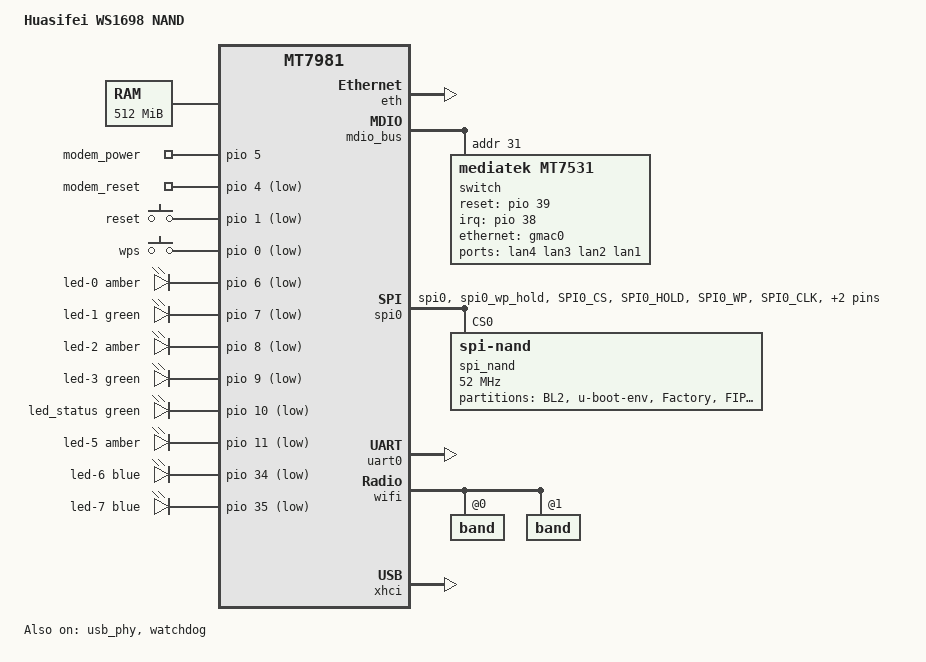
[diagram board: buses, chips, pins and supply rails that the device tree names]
// SPDX-License-Identifier: GPL-2.0-or-later OR MIT

/dts-v1/;
#include <dt-bindings/gpio/gpio.h>
#include <dt-bindings/input/input.h>
#include <dt-bindings/leds/common.h>

#include "mt7981b.dtsi"

/ {
	model = "Huasifei WS1698 NAND";
	compatible = "huasifei,ws1698-nand", "mediatek,mt7981";

	aliases {
		label-mac-device = &gmac1;

		led-boot = &led_status;
		led-failsafe = &led_status;
		led-running = &led_status;
		led-upgrade = &led_status;

		serial0 = &uart0;
	};

	chosen {
		stdout-path = "serial0:115200n8";
	};

	memory@40000000 {
		reg = <0 0x40000000 0 0x20000000>;
		device_type = "memory";
	};

	gpio-export {
		compatible = "gpio-export";

		modem-power {
			gpio-export,name = "modem_power";
			gpio-export,output = <1>;
			gpios = <&pio 5 GPIO_ACTIVE_HIGH>;
		};

		modem-reset {
			gpio-export,name = "modem_reset";
			gpio-export,output = <1>;
			gpios = <&pio 4 GPIO_ACTIVE_LOW>;
		};
	};

	gpio-keys {
		compatible = "gpio-keys";

		button-reset {
			label = "reset";
			linux,code = <KEY_RESTART>;
			gpios = <&pio 1 GPIO_ACTIVE_LOW>;
			debounce-interval = <60>;
		};

		button-wps {
			label = "wps";
			linux,code = <KEY_WPS_BUTTON>;
			gpios = <&pio 0 GPIO_ACTIVE_LOW>;
			debounce-interval = <60>;
		};
	};

	gpio-leds {
		compatible = "gpio-leds";

		led-0 {
			function = "5g";
			color = <LED_COLOR_ID_AMBER>;
			gpios = <&pio 6 GPIO_ACTIVE_LOW>;
		};

		led-1 {
			function = "5g";
			color = <LED_COLOR_ID_GREEN>;
			gpios = <&pio 7 GPIO_ACTIVE_LOW>;
		};

		led-2 {
			function = LED_FUNCTION_WAN;
			color = <LED_COLOR_ID_AMBER>;
			gpios = <&pio 8 GPIO_ACTIVE_LOW>;
		};

		led-3 {
			function = "4g";
			color = <LED_COLOR_ID_GREEN>;
			gpios = <&pio 9 GPIO_ACTIVE_LOW>;
		};

		led_status: led-4 {
			function = LED_FUNCTION_STATUS;
			color = <LED_COLOR_ID_GREEN>;
			gpios = <&pio 10 GPIO_ACTIVE_LOW>;
		};

		led-5 {
			function = "4g";
			color = <LED_COLOR_ID_AMBER>;
			gpios = <&pio 11 GPIO_ACTIVE_LOW>;
		};

		led-6 {
			function = LED_FUNCTION_WLAN_2GHZ;
			color = <LED_COLOR_ID_BLUE>;
			gpios = <&pio 34 GPIO_ACTIVE_LOW>;
			linux,default-trigger = "phy0tpt";
		};

		led-7 {
			function = LED_FUNCTION_WLAN_5GHZ;
			color = <LED_COLOR_ID_BLUE>;
			gpios = <&pio 35 GPIO_ACTIVE_LOW>;
			linux,default-trigger = "phy1tpt";
		};
	};
};

&eth {
	status = "okay";

	gmac0: mac@0 {
		compatible = "mediatek,eth-mac";
		reg = <0>;
		phy-mode = "2500base-x";
		nvmem-cells = <&macaddr_factory_4 1>;
		nvmem-cell-names = "mac-address";

		fixed-link {
			speed = <2500>;
			full-duplex;
			pause;
		};
	};

	gmac1: mac@1 {
		compatible = "mediatek,eth-mac";
		reg = <1>;
		phy-mode = "gmii";
		phy-handle = <&int_gbe_phy>;
		nvmem-cells = <&macaddr_factory_4 0>;
		nvmem-cell-names = "mac-address";
		openwrt,netdev-name = "wan";
	};
};

&mdio_bus {
	switch: switch@1f {
		compatible = "mediatek,mt7531";
		reg = <31>;
		reset-gpios = <&pio 39 GPIO_ACTIVE_HIGH>;
		interrupt-controller;
		#interrupt-cells = <1>;
		interrupt-parent = <&pio>;
		interrupts = <38 IRQ_TYPE_LEVEL_HIGH>;
	};
};

&pio {
	spi0_flash_pins: spi0-pins {
		mux {
			function = "spi";
			groups = "spi0", "spi0_wp_hold";
		};

		conf-pu {
			pins = "SPI0_CS", "SPI0_HOLD", "SPI0_WP";
			drive-strength = <MTK_DRIVE_8mA>;
			bias-pull-up = <MTK_PUPD_SET_R1R0_11>;
		};

		conf-pd {
			pins = "SPI0_CLK", "SPI0_MOSI", "SPI0_MISO";
			drive-strength = <MTK_DRIVE_8mA>;
			bias-pull-down = <MTK_PUPD_SET_R1R0_11>;
		};
	};
};

&spi0 {
	pinctrl-names = "default";
	pinctrl-0 = <&spi0_flash_pins>;
	status = "okay";

	spi_nand@0 {
		compatible = "spi-nand";
		reg = <0>;

		spi-max-frequency = <52000000>;
		spi-tx-bus-width = <4>;
		spi-rx-bus-width = <4>;

		spi-cal-enable;
		spi-cal-mode = "read-data";
		spi-cal-datalen = <7>;
		spi-cal-data = /bits/ 8 <0x53 0x50 0x49 0x4e 0x41 0x4e 0x44>;
		spi-cal-addrlen = <5>;
		spi-cal-addr = /bits/ 32 <0x0 0x0 0x0 0x0 0x0>;

		mediatek,nmbm;
		mediatek,bmt-max-ratio = <1>;
		mediatek,bmt-max-reserved-blocks = <64>;

		partitions {
			compatible = "fixed-partitions";
			#address-cells = <1>;
			#size-cells = <1>;

			partition@0 {
				label = "BL2";
				reg = <0x0 0x100000>;
				read-only;
			};

			partition@100000 {
				label = "u-boot-env";
				reg = <0x100000 0x80000>;
			};

			partition@180000 {
				label = "Factory";
				reg = <0x180000 0x200000>;
				read-only;

				nvmem-layout {
					compatible = "fixed-layout";
					#address-cells = <1>;
					#size-cells = <1>;

					eeprom_factory_0: eeprom@0 {
						reg = <0x0 0x1000>;
					};

					macaddr_factory_4: macaddr@4 {
						compatible = "mac-base";
						reg = <0x4 0x6>;
						#nvmem-cell-cells = <1>;
					};
				};
			};

			partition@380000 {
				label = "FIP";
				reg = <0x380000 0x200000>;
				read-only;
			};

			partition@580000 {
				label = "ubi";
				reg = <0x580000 0xe280000>;
			};
		};
	};
};

&switch {
	ports {
		#address-cells = <1>;
		#size-cells = <0>;

		port@0 {
			reg = <0>;
			label = "lan4";
		};

		port@1 {
			reg = <1>;
			label = "lan3";
		};

		port@2 {
			reg = <2>;
			label = "lan2";
		};

		port@3 {
			reg = <3>;
			label = "lan1";
		};

		port@6 {
			reg = <6>;
			ethernet = <&gmac0>;
			phy-mode = "2500base-x";

			fixed-link {
				speed = <2500>;
				full-duplex;
				pause;
			};
		};
	};
};

&uart0 {
	status = "okay";
};

&usb_phy {
	status = "okay";
};

&watchdog {
	status = "okay";
};

&wifi {
	status = "okay";
	#address-cells = <1>;
	#size-cells = <0>;
	nvmem-cells = <&eeprom_factory_0>;
	nvmem-cell-names = "eeprom";

	band@0 {
		reg = <0>;
		nvmem-cells = <&macaddr_factory_4 2>;
		nvmem-cell-names = "mac-address";
	};

	band@1 {
		reg = <1>;
		nvmem-cells = <&macaddr_factory_4 3>;
		nvmem-cell-names = "mac-address";
	};
};

&xhci {
	status = "okay";
};
